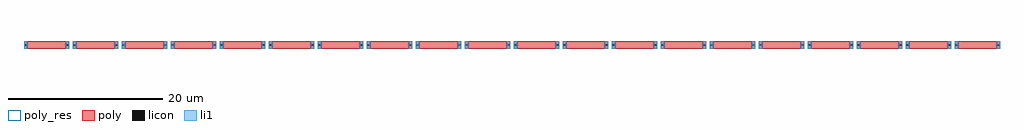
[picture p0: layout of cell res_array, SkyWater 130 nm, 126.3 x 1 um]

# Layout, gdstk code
import gdstk
lib = gdstk.Library(unit=1e-6, precision=1e-09)
def R(c, l, rs):  # rectangles x0, y0, x1, y1
    for r in rs: c.add(gdstk.rectangle(r[:2], r[2:], *l))
def A(c, l, x, y, w, h, nx, ny, dx, dy):  # array of equal rectangles
    R(c, l, [(x+i*dx, y+j*dy, x+i*dx+w, y+j*dy+h) for i in range(nx) for j in range(ny)])
poly_res = (66, 13)
poly = (66, 20)
licon = (66, 44)
li1 = (67, 20)

res_array = lib.new_cell('res_array')
A(res_array, poly_res, -12.26, 0, 5, 1, 20, 1, 6.34, 0)
A(res_array, poly, -12.68, 0, 5.84, 1, 20, 1, 6.34, 0)
R(res_array, licon, [(-12.58,0.39,-12.36,0.61), (-7.16,0.39,-6.94,0.61), (-6.24,0.39,-6.02,0.61), (-0.82,0.39,-0.6,0.61), (0.1,0.39,0.32,0.61), (5.52,0.39,5.74,0.61), (6.44,0.39,6.66,0.61), (11.86,0.39,12.08,0.61), (12.78,0.39,13,0.61), (18.2,0.39,18.42,0.61), (19.12,0.39,19.34,0.61), (24.54,0.39,24.76,0.61), (25.46,0.39,25.68,0.61), (30.88,0.39,31.1,0.61), (31.8,0.39,32.02,0.61), (37.22,0.39,37.44,0.61), (38.14,0.39,38.36,0.61), (43.56,0.39,43.78,0.61), (44.48,0.39,44.7,0.61), (49.9,0.39,50.12,0.61), (50.82,0.39,51.04,0.61), (56.24,0.39,56.46,0.61), (57.16,0.39,57.38,0.61), (62.58,0.39,62.8,0.61), (63.5,0.39,63.72,0.61), (68.92,0.39,69.14,0.61), (69.84,0.39,70.06,0.61), (75.26,0.39,75.48,0.61), (76.18,0.39,76.4,0.61), (81.6,0.39,81.82,0.61), (82.52,0.39,82.74,0.61), (87.94,0.39,88.16,0.61), (88.86,0.39,89.08,0.61), (94.28,0.39,94.5,0.61), (95.2,0.39,95.42,0.61), (100.62,0.39,100.84,0.61), (101.54,0.39,101.76,0.61), (106.96,0.39,107.18,0.61), (107.88,0.39,108.1,0.61), (113.3,0.39,113.52,0.61)])
R(res_array, li1, [(-12.68,0,-12.26,1), (-7.26,0,-6.84,1), (-6.34,0,-5.92,1), (-0.92,0,-0.5,1), (0,0,0.42,1), (5.42,0,5.84,1), (6.34,0,6.76,1), (11.76,0,12.18,1), (12.68,0,13.1,1), (18.1,0,18.52,1), (19.02,0,19.44,1), (24.44,0,24.86,1), (25.36,0,25.78,1), (30.78,0,31.2,1), (31.7,0,32.12,1), (37.12,0,37.54,1), (38.04,0,38.46,1), (43.46,0,43.88,1), (44.38,0,44.8,1), (49.8,0,50.22,1), (50.72,0,51.14,1), (56.14,0,56.56,1), (57.06,0,57.48,1), (62.48,0,62.9,1), (63.4,0,63.82,1), (68.82,0,69.24,1), (69.74,0,70.16,1), (75.16,0,75.58,1), (76.08,0,76.5,1), (81.5,0,81.92,1), (82.42,0,82.84,1), (87.84,0,88.26,1), (88.76,0,89.18,1), (94.18,0,94.6,1), (95.1,0,95.52,1), (100.52,0,100.94,1), (101.44,0,101.86,1), (106.86,0,107.28,1), (107.78,0,108.2,1), (113.2,0,113.62,1)])

lib.write_gds('res_array.gds')
